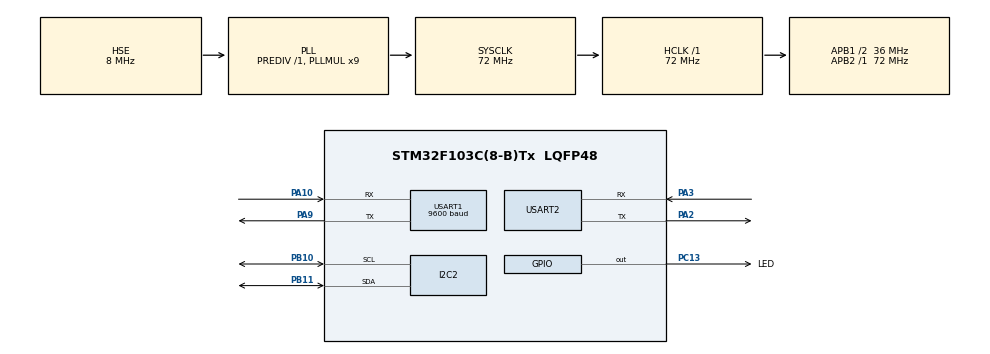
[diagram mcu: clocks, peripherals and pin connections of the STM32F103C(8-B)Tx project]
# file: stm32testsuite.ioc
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Dma.Request0=USART1_RX
Dma.USART1_RX.0.Direction=DMA_PERIPH_TO_MEMORY
Dma.USART1_RX.0.Instance=DMA1_Channel5
Dma.USART1_RX.0.MemDataAlignment=DMA_MDATAALIGN_BYTE
Dma.USART1_RX.0.MemInc=DMA_MINC_ENABLE
Dma.USART1_RX.0.Mode=DMA_CIRCULAR
Dma.USART1_RX.0.PeriphDataAlignment=DMA_PDATAALIGN_BYTE
Dma.USART1_RX.0.PeriphInc=DMA_PINC_DISABLE
Dma.USART1_RX.0.Priority=DMA_PRIORITY_LOW
I2C2.OwnAddress=0x77
Mcu.Family=STM32F1
Mcu.Name=STM32F103C(8-B)Tx
Mcu.Package=LQFP48
NVIC.DMA1_Channel5_IRQn=true\:0\:0\:false\:false\:true\:false\:true
NVIC.PriorityGroup=NVIC_PRIORITYGROUP_4
PA10.Mode=Asynchronous
PA10.Signal=USART1_RX
PA13.Mode=Serial_Wire
PA13.Signal=SYS_JTMS-SWDIO
PA14.Mode=Serial_Wire
PA14.Signal=SYS_JTCK-SWCLK
PA2.Mode=Asynchronous
PA2.Signal=USART2_TX
PA3.Mode=Asynchronous
PA3.Signal=USART2_RX
PA9.Mode=Asynchronous
PA9.Signal=USART1_TX
PB10.Mode=I2C
PB10.Signal=I2C2_SCL
PB11.Mode=I2C
PB11.Signal=I2C2_SDA
PC13-TAMPER-RTC.GPIO_Label=LED
PC13-TAMPER-RTC.GPIO_ModeDefaultOutputPP=GPIO_MODE_OUTPUT_PP
PC13-TAMPER-RTC.GPIO_PuPd=GPIO_NOPULL
PC13-TAMPER-RTC.GPIO_Speed=GPIO_SPEED_FREQ_LOW
PC13-TAMPER-RTC.PinState=GPIO_PIN_RESET
PC13-TAMPER-RTC.Signal=GPIO_Output
PD0-OSC_IN.Mode=HSE-External-Oscillator
PD0-OSC_IN.Signal=RCC_OSC_IN
PD1-OSC_OUT.Mode=HSE-External-Oscillator
PD1-OSC_OUT.Signal=RCC_OSC_OUT
ProjectManager.HeapSize=0x200
ProjectManager.StackSize=0x400
ProjectManager.TargetToolchain=STM32CubeIDE
RCC.AHBFreq_Value=72000000
RCC.APB1CLKDivider=RCC_HCLK_DIV2
RCC.APB1Freq_Value=36000000
RCC.APB1TimFreq_Value=72000000
RCC.APB2Freq_Value=72000000
RCC.APB2TimFreq_Value=72000000
RCC.HCLKFreq_Value=72000000
RCC.PLLMUL=RCC_PLL_MUL9
RCC.PLLSourceVirtual=RCC_PLLSOURCE_HSE
RCC.SYSCLKFreq_VALUE=72000000
RCC.SYSCLKSource=RCC_SYSCLKSOURCE_PLLCLK
RCC.USBFreq_Value=72000000
USART1.BaudRate=9600
USART1.VirtualMode=VM_ASYNC
USART2.VirtualMode=VM_ASYNC
board=custom

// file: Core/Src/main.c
/* USER CODE BEGIN Header */
/**
  ******************************************************************************
  * @file           : main.c
  * @brief          : Main program body
  ******************************************************************************
  * @attention
  *
  * <h2><center>&copy; Copyright (c) 2021 STMicroelectronics.
  * All rights reserved.</center></h2>
  *
  * This software component is licensed by ST under BSD 3-Clause license,
  * the "License"; You may not use this file except in compliance with the
  * License. You may obtain a copy of the License at:
  *                        opensource.org/licenses/BSD-3-Clause
  *
  ******************************************************************************
  */
/* USER CODE END Header */
#include "main.h"

/* USER CODE BEGIN Includes */
#include "BMP180_Driver/bmp180driver.h"
#include "MPU6050_Driver/MPU6050_Driver.h"
#include "MPU6050_Driver/MPU6050_UnitTest.h"

/* USER CODE END Includes */

I2C_HandleTypeDef hi2c2;

UART_HandleTypeDef huart1;
UART_HandleTypeDef huart2;
DMA_HandleTypeDef hdma_usart1_rx;

void SystemClock_Config(void);
static void MX_GPIO_Init(void);
static void MX_DMA_Init(void);
static void MX_I2C2_Init(void);
static void MX_USART2_UART_Init(void);
static void MX_USART1_UART_Init(void);

/* USER CODE BEGIN 0 */
uint8_t uart1dmabuf[256] ={0};
uint8_t globbuf[256]={0};

/* USER CODE END 0 */

int main(void)
{

  /* MCU Configuration--------------------------------------------------------*/

  /* Reset of all peripherals, Initializes the Flash interface and the Systick. */
  HAL_Init();

  /* Configure the system clock */
  SystemClock_Config();

  /* Initialize all configured peripherals */
  MX_GPIO_Init();
  MX_DMA_Init();
  MX_I2C2_Init();
  MX_USART2_UART_Init();
  MX_USART1_UART_Init();
  /* USER CODE BEGIN 2 */

  //uart msg buffer
  uint8_t msg[64] ={0};
  //  uint8_t uart1dmabuf[256] ={0};

 BMP180_Start();
 MPU6050_Init();

 //gps?
  //HAL_UART_Receive_DMA(&huart1,uart1dmabuf,sizeof uart1dmabuf);

 // *** UNIT TESTS *** //
 RunMPU6050UnitTests();

 // *** END UNIT TESTS *** //

  /* USER CODE END 2 */

  /* Infinite loop */
  /* USER CODE BEGIN WHILE */
  while (1)
  {

	  HAL_Delay(500);

	  /*** BMP180 TEMP & PRESSURE ***/

	  read_calibration_data();
	  float temp = BMP180_GetTemp()*(9.0/5.0)+32.0;
	  float alt = BMP180_GetAlt(3);//ERROR

	  //UART Debug shit
	  memset(msg,0,sizeof(msg));
	  sprintf(msg,"\r\nTemp: %.2f F\r\n",temp);
	  HAL_UART_Transmit(&huart2,msg, sizeof(msg),HAL_MAX_DELAY);

	  /*** END BMP180 ***/

	  /*** MPU6050 ***/

	  //Acceleration

	  static uint8_t accelBuffer[6] = {0};
	  static int16_t ax = 0;
	  static int16_t ay = 0;
	  static int16_t az = 0;

	  MPU6050_GetAccelBuffer(&accelBuffer);
	  MPU6050_ParseRawIMUBuffer(accelBuffer, &ax, &ay, &az);
	  MPU6050_ScaleAcceleration(&ax,&ay,&az);

	  //Temperature

	  int16_t t = MPU6050_GetTempC();

	  //Gyroscope

	  static uint8_t gyroBuffer[6] = {0};
	  static int16_t gx = 0;
	  static int16_t gy = 0;
	  static int16_t gz = 0;

	  MPU6050_GetGyroBuffer(&gyroBuffer);
	  MPU6050_ParseRawIMUBuffer(gyroBuffer, &gx, &gy, &gz);
	  MPU6050_ScaleGyroscope(&gx, &gy, &gz);

	  /*** END MPU6050 ***/

	  /***UART DMA ???***/
//	  HAL_UART_Transmit(&huart2,msg, sizeof(msg),HAL_MAX_DELAY);
//	  memset(globbuf,0,sizeof globbuf);

	  /*** GRENN LED BLINK ***/
	  HAL_GPIO_TogglePin(LED_GPIO_Port, LED_Pin);

    /* USER CODE END WHILE */

  }
}

void SystemClock_Config(void)
{
  RCC_OscInitTypeDef RCC_OscInitStruct = {0};
  RCC_ClkInitTypeDef RCC_ClkInitStruct = {0};

  /** Initializes the RCC Oscillators according to the specified parameters
  * in the RCC_OscInitTypeDef structure.
  */
  RCC_OscInitStruct.OscillatorType = RCC_OSCILLATORTYPE_HSE;
  RCC_OscInitStruct.HSEState = RCC_HSE_ON;
  RCC_OscInitStruct.HSEPredivValue = RCC_HSE_PREDIV_DIV1;
  RCC_OscInitStruct.HSIState = RCC_HSI_ON;
  RCC_OscInitStruct.PLL.PLLState = RCC_PLL_ON;
  RCC_OscInitStruct.PLL.PLLSource = RCC_PLLSOURCE_HSE;
  RCC_OscInitStruct.PLL.PLLMUL = RCC_PLL_MUL9;
  if (HAL_RCC_OscConfig(&RCC_OscInitStruct) != HAL_OK)
  {
    Error_Handler();
  }
  /** Initializes the CPU, AHB and APB buses clocks
  */
  RCC_ClkInitStruct.ClockType = RCC_CLOCKTYPE_HCLK|RCC_CLOCKTYPE_SYSCLK
                              |RCC_CLOCKTYPE_PCLK1|RCC_CLOCKTYPE_PCLK2;
  RCC_ClkInitStruct.SYSCLKSource = RCC_SYSCLKSOURCE_PLLCLK;
  RCC_ClkInitStruct.AHBCLKDivider = RCC_SYSCLK_DIV1;
  RCC_ClkInitStruct.APB1CLKDivider = RCC_HCLK_DIV2;
  RCC_ClkInitStruct.APB2CLKDivider = RCC_HCLK_DIV1;

  if (HAL_RCC_ClockConfig(&RCC_ClkInitStruct, FLASH_LATENCY_2) != HAL_OK)
  {
    Error_Handler();
  }
}

static void MX_I2C2_Init(void)
{

  hi2c2.Instance = I2C2;
  hi2c2.Init.ClockSpeed = 100000;
  hi2c2.Init.DutyCycle = I2C_DUTYCYCLE_2;
  hi2c2.Init.OwnAddress1 = 238;
  hi2c2.Init.AddressingMode = I2C_ADDRESSINGMODE_7BIT;
  hi2c2.Init.DualAddressMode = I2C_DUALADDRESS_DISABLE;
  hi2c2.Init.OwnAddress2 = 0;
  hi2c2.Init.GeneralCallMode = I2C_GENERALCALL_DISABLE;
  hi2c2.Init.NoStretchMode = I2C_NOSTRETCH_DISABLE;
  if (HAL_I2C_Init(&hi2c2) != HAL_OK)
  {
    Error_Handler();
  }

}

static void MX_USART1_UART_Init(void)
{

  huart1.Instance = USART1;
  huart1.Init.BaudRate = 9600;
  huart1.Init.WordLength = UART_WORDLENGTH_8B;
  huart1.Init.StopBits = UART_STOPBITS_1;
  huart1.Init.Parity = UART_PARITY_NONE;
  huart1.Init.Mode = UART_MODE_TX_RX;
  huart1.Init.HwFlowCtl = UART_HWCONTROL_NONE;
  huart1.Init.OverSampling = UART_OVERSAMPLING_16;
  if (HAL_UART_Init(&huart1) != HAL_OK)
  {
    Error_Handler();
  }

}

static void MX_USART2_UART_Init(void)
{

  huart2.Instance = USART2;
  huart2.Init.BaudRate = 115200;
  huart2.Init.WordLength = UART_WORDLENGTH_8B;
  huart2.Init.StopBits = UART_STOPBITS_1;
  huart2.Init.Parity = UART_PARITY_NONE;
  huart2.Init.Mode = UART_MODE_TX_RX;
  huart2.Init.HwFlowCtl = UART_HWCONTROL_NONE;
  huart2.Init.OverSampling = UART_OVERSAMPLING_16;
  if (HAL_UART_Init(&huart2) != HAL_OK)
  {
    Error_Handler();
  }

}

static void MX_DMA_Init(void)
{

  /* DMA controller clock enable */
  __HAL_RCC_DMA1_CLK_ENABLE();

  /* DMA interrupt init */
  /* DMA1_Channel5_IRQn interrupt configuration */
  HAL_NVIC_SetPriority(DMA1_Channel5_IRQn, 0, 0);
  HAL_NVIC_EnableIRQ(DMA1_Channel5_IRQn);

}

static void MX_GPIO_Init(void)
{
  GPIO_InitTypeDef GPIO_InitStruct = {0};

  /* GPIO Ports Clock Enable */
  __HAL_RCC_GPIOC_CLK_ENABLE();
  __HAL_RCC_GPIOD_CLK_ENABLE();
  __HAL_RCC_GPIOA_CLK_ENABLE();
  __HAL_RCC_GPIOB_CLK_ENABLE();

  /*Configure GPIO pin Output Level */
  HAL_GPIO_WritePin(LED_GPIO_Port, LED_Pin, GPIO_PIN_RESET);

  /*Configure GPIO pin : LED_Pin */
  GPIO_InitStruct.Pin = LED_Pin;
  GPIO_InitStruct.Mode = GPIO_MODE_OUTPUT_PP;
  GPIO_InitStruct.Pull = GPIO_NOPULL;
  GPIO_InitStruct.Speed = GPIO_SPEED_FREQ_LOW;
  HAL_GPIO_Init(LED_GPIO_Port, &GPIO_InitStruct);

}

/* USER CODE BEGIN 4 */

//use this callback to parse GPS data since this is the most process intensive part
void HAL_UART_RxHalfCpltCallback(UART_HandleTypeDef *huart)
{
    //HAL_UART_Transmit(&huart2, uart1dmabuf, sizeof uart1dmabuf, 100);

	//copy the halffilled buffer into the globally accessable buffer to parse
	sprintf(globbuf,"%s\r\n",uart1dmabuf);

	//use strtok to separate each NMEA sentence

	//for each sentence update the gps object with new data

	//on last sentence... add it to from of data to be used next time since it can be cutoff

}

/* USER CODE END 4 */

void Error_Handler(void)
{
  __disable_irq();
  while (1)
  {
  }
}

/************************ (C) COPYRIGHT STMicroelectronics *****END OF FILE****/
